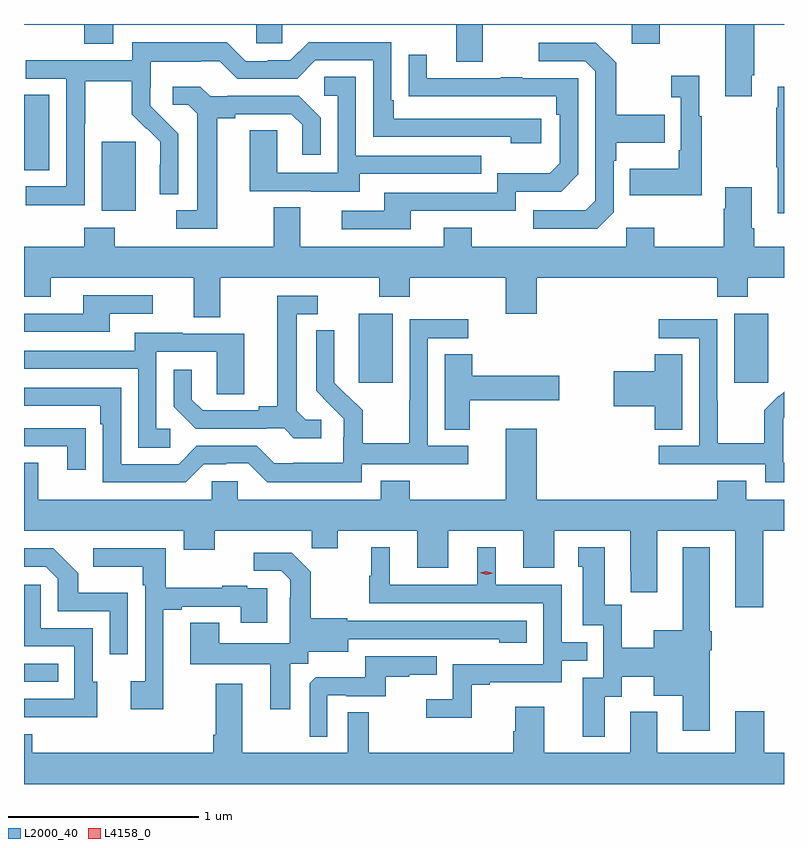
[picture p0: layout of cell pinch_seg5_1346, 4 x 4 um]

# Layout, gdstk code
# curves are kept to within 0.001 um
import gdstk
lib = gdstk.Library(unit=1e-6, precision=1e-09)
def R(c, l, rs):  # rectangles x0, y0, x1, y1
    for r in rs: c.add(gdstk.rectangle(r[:2], r[2:], *l))
def P(c, l, *ps):  # polygons
    for p in ps: c.add(gdstk.Polygon(p, *l))
L2000_40 = (2000, 40)
L4158_0 = (4158, 0)

pinch_seg5_1346 = lib.new_cell('pinch_seg5_1346')
R(pinch_seg5_1346, L2000_40, [(330.305,907.914,330.485,908.01), (332.066,909.489,332.245,909.85), (334.043,909.489,334.222,909.85), (330.713,910.394,330.892,910.755), (330.305,910.606,330.439,911.003)])
P(pinch_seg5_1346, L2000_40, [(330.305,911.372),(330.623,911.372),(330.623,911.273),(330.775,911.273),(330.775,911.372),(331.527,911.372),(331.527,911.274),(331.665,911.274),(331.665,911.372),(332.579,911.372),(332.579,911.178),(332.719,911.178),(332.719,911.372),(333.503,911.372),(333.503,911.273),(333.651,911.273),(333.651,911.372),(333.995,911.372),(333.995,910.995),(334.135,910.995),(334.135,911.107),(334.148,911.107),(334.148,911.372),(334.305,911.372),(334.305,911.376),(330.305,911.376)],
  [(330.624,910.852),(330.627,910.852),(330.627,911.076),(330.871,911.076),(330.871,910.901),(330.948,910.824),(330.951,910.827),(331.022,910.757),(331.022,910.634),(331.02,910.634),(331.02,910.48),(331.116,910.48),(331.116,910.798),(330.97,910.946),(330.97,911.043),(330.972,911.043),(330.972,911.177),(331.235,911.177),(331.235,911.181),(331.335,911.181),(331.428,911.088),(331.743,911.088),(331.839,911.184),(332.142,911.184),(332.142,910.782),(332.867,910.782),(332.867,910.748),(333.028,910.748),(333.028,910.878),(332.251,910.878),(332.251,910.975),(332.238,910.975),(332.238,911.28),(331.803,911.28),(331.707,911.184),(331.589,911.184),(331.589,911.181),(331.473,911.181),(331.373,911.281),(330.876,911.281),(330.876,911.184),(330.315,911.184),(330.315,911.088),(330.528,911.088),(330.528,910.521),(330.315,910.521),(330.315,910.423),(330.624,910.423)],
  [(333.408,910.386),(333.408,910.655),(333.421,910.655),(333.421,910.751),(333.677,910.751),(333.677,910.899),(333.421,910.899),(333.421,911.171),(333.315,911.277),(333.015,911.277),(333.015,911.181),(333.258,911.181),(333.312,911.127),(333.312,910.446),(333.261,910.395),(332.985,910.395),(332.985,910.299),(333.321,910.299)],
  [(332.341,910.392),(332.892,910.392),(332.892,910.494),(333.132,910.494),(333.222,910.584),(333.222,911.091),(332.927,911.091),(332.927,911.096),(332.815,911.096),(332.815,911.091),(332.425,911.091),(332.425,911.215),(332.329,911.215),(332.329,910.996),(333.106,910.995),(333.106,910.898),(333.126,910.898),(333.126,910.644),(333.073,910.591),(332.796,910.591),(332.796,910.488),(332.201,910.488),(332.201,910.392),(331.977,910.392),(331.977,910.296),(332.341,910.296)],
  [(333.871,910.891),(333.859,910.891),(333.859,911.104),(333.711,911.104),(333.711,910.991),(333.762,910.991),(333.762,910.711),(333.75,910.711),(333.75,910.615),(333.493,910.615),(333.493,910.475),(333.871,910.475)],
  [(332.071,910.587),(332.711,910.587),(332.711,910.683),(332.052,910.683),(332.052,911.099),(331.884,911.099),(331.884,910.998),(331.956,910.998),(331.956,910.593),(331.638,910.593),(331.638,910.817),(331.493,910.817),(331.493,910.497),(331.817,910.497),(331.817,910.493),(332.071,910.493)],
  [(331.321,910.88),(331.417,910.88),(331.417,910.902),(331.712,910.902),(331.769,910.845),(331.769,910.689),(331.866,910.689),(331.866,910.882),(331.75,910.998),(331.378,910.998),(331.378,910.995),(331.284,910.995),(331.232,911.047),(331.089,911.047),(331.089,910.95),(331.17,910.95),(331.217,910.903),(331.217,910.395),(331.107,910.395),(331.107,910.299),(331.321,910.299)],
  [(334.305,911.047),(334.271,911.047),(334.271,910.934),(334.264,910.934),(334.264,910.623),(334.271,910.623),(334.271,910.38),(334.305,910.38)],
  [(331.339,910.04),(332.176,910.04),(332.176,909.941),(332.336,909.941),(332.336,910.04),(332.84,910.04),(332.84,909.852),(333.004,909.852),(333.004,910.04),(333.953,910.04),(333.953,909.941),(334.113,909.941),(334.113,910.04),(334.305,910.04),(334.305,910.204),(334.148,910.204),(334.148,910.3),(334.135,910.3),(334.135,910.516),(333.995,910.516),(333.995,910.403),(333.988,910.403),(333.988,910.204),(333.621,910.204),(333.621,910.303),(333.474,910.303),(333.474,910.204),(332.661,910.204),(332.661,910.303),(332.513,910.303),(332.513,910.204),(331.759,910.204),(331.759,910.412),(331.619,910.412),(331.619,910.204),(330.783,910.204),(330.783,910.303),(330.623,910.303),(330.623,910.204),(330.305,910.204),(330.305,909.941),(330.445,909.941),(330.445,910.04),(331.199,910.04),(331.199,909.832),(331.339,909.832)],
  [(330.757,909.852),(330.982,909.852),(330.982,909.948),(330.617,909.948),(330.617,909.852),(330.305,909.852),(330.305,909.756),(330.757,909.756)],
  [(331.87,909.294),(331.788,909.294),(331.741,909.341),(331.741,909.849),(331.852,909.849),(331.852,909.945),(331.637,909.945),(331.637,909.365),(331.541,909.365),(331.541,909.342),(331.246,909.342),(331.189,909.399),(331.189,909.556),(331.092,909.556),(331.092,909.362),(331.208,909.246),(331.58,909.246),(331.58,909.249),(331.674,909.249),(331.726,909.197),(331.87,909.197)],
  [(334.305,909.067),(334.302,909.067),(334.302,909.201),(334.3,909.201),(334.3,909.298),(334.305,909.303),(334.305,909.441),(334.281,909.417),(334.278,909.42),(334.201,909.343),(334.201,909.169),(333.957,909.169),(333.957,909.392),(333.954,909.392),(333.954,909.822),(333.645,909.822),(333.645,909.723),(333.858,909.723),(333.858,909.156),(333.645,909.156),(333.645,909.06),(334.206,909.06),(334.206,908.963),(334.305,908.963)],
  [(332.082,909.06),(332.644,909.06),(332.644,909.156),(332.43,909.156),(332.43,909.723),(332.644,909.723),(332.644,909.822),(332.334,909.822),(332.334,909.392),(332.332,909.392),(332.332,909.169),(332.087,909.169),(332.087,909.343),(332.01,909.42),(332.007,909.417),(331.937,909.488),(331.938,909.764),(331.842,909.764),(331.842,909.446),(331.988,909.298),(331.988,909.201),(331.986,909.201),(331.986,909.067),(331.723,909.067),(331.723,909.063),(331.623,909.063),(331.53,909.156),(331.215,909.156),(331.119,909.06),(330.816,909.06),(330.816,909.462),(330.305,909.462),(330.305,909.366),(330.707,909.366),(330.707,909.269),(330.72,909.269),(330.72,908.964),(331.155,908.964),(331.251,909.06),(331.37,909.06),(331.37,909.063),(331.485,909.063),(331.585,908.963),(332.082,908.963)],
  [(331.075,909.246),(331.002,909.246),(331.002,909.651),(331.32,909.651),(331.32,909.427),(331.465,909.427),(331.465,909.747),(331.141,909.747),(331.141,909.751),(330.887,909.751),(330.887,909.657),(330.305,909.657),(330.305,909.561),(330.906,909.561),(330.906,909.145),(331.075,909.145)],
  [(333.769,909.638),(333.626,909.638),(333.626,909.548),(333.408,909.548),(333.408,909.365),(333.626,909.365),(333.626,909.241),(333.769,909.241)],
  [(332.65,909.395),(333.121,909.395),(333.121,909.525),(332.663,909.525),(332.663,909.638),(332.519,909.638),(332.519,909.241),(332.65,909.241)],
  [(330.629,909.248),(330.527,909.248),(330.527,909.249),(330.305,909.249),(330.305,909.153),(330.533,909.153),(330.533,909.03),(330.629,909.03)],
  [(332.336,908.971),(332.183,908.971),(332.183,908.872),(331.431,908.872),(331.431,908.97),(331.293,908.97),(331.293,908.872),(330.379,908.872),(330.379,909.067),(330.305,909.067),(330.305,908.708),(331.145,908.708),(331.145,908.609),(331.309,908.609),(331.309,908.708),(331.819,908.708),(331.819,908.618),(331.957,908.618),(331.957,908.708),(332.375,908.708),(332.375,908.514),(332.539,908.514),(332.539,908.708),(332.933,908.708),(332.933,908.514),(333.097,908.514),(333.097,908.708),(333.497,908.708),(333.497,908.497),(333.498,908.497),(333.498,908.385),(333.637,908.385),(333.637,908.708),(334.049,908.708),(334.049,908.307),(334.197,908.307),(334.197,908.708),(334.305,908.708),(334.305,908.872),(334.105,908.872),(334.105,908.971),(333.953,908.971),(333.953,908.872),(333.004,908.872),(333.004,909.247),(332.84,909.247),(332.84,908.872),(332.336,908.872)],
  [(333.361,907.834),(333.451,907.834),(333.451,907.94),(333.62,907.94),(333.62,907.841),(333.773,907.841),(333.773,907.656),(333.913,907.656),(333.913,908.081),(333.926,908.081),(333.926,908.181),(333.913,908.181),(333.913,908.623),(333.773,908.623),(333.773,908.185),(333.62,908.185),(333.62,908.092),(333.45,908.092),(333.45,908.319),(333.361,908.319),(333.361,908.623),(333.221,908.623),(333.221,908.52),(333.245,908.52),(333.245,908.211),(333.354,908.211),(333.354,907.935),(333.245,907.935),(333.245,907.626),(333.361,907.626)],
  [(332.661,907.899),(332.755,907.899),(332.755,907.911),(333.135,907.911),(333.135,908.025),(333.269,908.025),(333.269,908.121),(333.135,908.121),(333.135,908.424),(332.788,908.424),(332.788,908.623),(332.69,908.623),(332.69,908.424),(332.23,908.424),(332.23,908.623),(332.132,908.623),(332.132,908.472),(332.121,908.472),(332.121,908.328),(333.039,908.328),(333.039,908.007),(332.562,908.007),(332.562,907.822),(332.421,907.822),(332.421,907.724),(332.661,907.724)],
  [(331.039,908.292),(331.135,908.292),(331.135,908.31),(331.445,908.31),(331.445,908.226),(331.585,908.226),(331.585,908.406),(331.481,908.406),(331.481,908.419),(331.349,908.419),(331.349,908.408),(331.051,908.408),(331.051,908.616),(330.669,908.616),(330.669,908.519),(330.93,908.519),(330.93,908.423),(330.942,908.423),(330.942,907.918),(330.867,907.918),(330.867,907.77),(331.039,907.77)],
  [(330.852,908.383),(330.591,908.383),(330.591,908.486),(330.46,908.616),(330.305,908.616),(330.305,908.52),(330.42,908.52),(330.483,908.457),(330.483,908.286),(330.756,908.286),(330.756,908.058),(330.852,908.058)],
  [(331.705,908.008),(331.8,908.008),(331.8,908.072),(332.011,908.072),(332.011,908.139),(332.805,908.138),(332.805,908.12),(332.95,908.12),(332.95,908.235),(332.007,908.235),(332.007,908.248),(331.815,908.248),(331.815,908.493),(331.715,908.593),(331.515,908.593),(331.515,908.499),(331.659,908.499),(331.706,908.452),(331.706,908.357),(331.704,908.357),(331.704,908.116),(331.333,908.116),(331.333,908.225),(331.181,908.225),(331.181,908.006),(331.601,908.006),(331.601,907.77),(331.705,907.77)],
  [(330.691,907.914),(330.666,907.914),(330.666,908.196),(330.393,908.196),(330.393,908.425),(330.305,908.425),(330.305,908.1),(330.57,908.1),(330.57,907.824),(330.305,907.824),(330.305,907.728),(330.473,907.728),(330.473,907.727),(330.691,907.727)],
  [(331.902,907.842),(332.002,907.842),(332.002,907.839),(332.21,907.839),(332.21,907.941),(332.333,907.941),(332.333,907.952),(332.477,907.952),(332.477,908.049),(332.1,908.049),(332.1,907.937),(331.841,907.937),(331.809,907.905),(331.809,907.625),(331.902,907.625)],
  [(334.305,907.54),(334.202,907.54),(334.202,907.759),(334.049,907.759),(334.049,907.54),(333.637,907.54),(333.637,907.756),(333.497,907.756),(333.497,907.54),(333.043,907.54),(333.043,907.783),(332.891,907.783),(332.891,907.653),(332.879,907.653),(332.879,907.54),(332.119,907.54),(332.119,907.754),(332.01,907.754),(332.01,907.54),(331.453,907.54),(331.453,907.903),(331.313,907.903),(331.313,907.636),(331.301,907.636),(331.301,907.54),(330.349,907.54),(330.349,907.639),(330.305,907.639),(330.305,907.376),(334.305,907.376)])
P(pinch_seg5_1346, L4158_0, [(332.739,908.477),(332.703,908.487),(332.703,908.488),(332.703,908.488),(332.739,908.497),(332.775,908.486),(332.775,908.486),(332.775,908.486)])

lib.write_gds('pinch_seg5_1346.gds')
